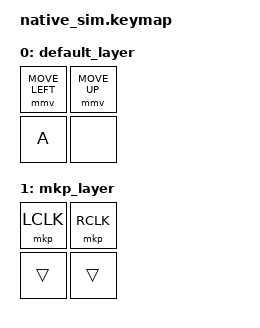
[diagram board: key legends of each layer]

#include <dt-bindings/zmk/input_transform.h>
#include <zephyr/dt-bindings/input/input-event-codes.h>

#include <behaviors.dtsi>
#include <input/processors.dtsi>
#include <dt-bindings/zmk/keys.h>
#include <dt-bindings/zmk/input_mock.h>
#include <dt-bindings/zmk/pointing.h>

&mmv_input_listener {
    input-processors = <&auto_mouse_layer 1 500>;
};

/ {
    auto_mouse_layer: auto_mouse_layer {
        compatible = "zmk,input-processor-temp-layer";
        #input-processor-cells = <2>;
        require-prior-idle-ms = <500>;
    };
    keymap {
        compatible = "zmk,keymap";
        label ="Default keymap";

        default_layer {
            bindings = <
                &mmv MOVE_LEFT &mmv MOVE_UP
                &kp A &none
            >;
        };

        mkp_layer {
            bindings = <&mkp LCLK &mkp RCLK &trans &trans>;
        };
    };
};


&mock_input {
    events = <
        ZMK_INPUT_MOCK_PRESS(1,0,10)
        ZMK_INPUT_MOCK_RELEASE(1,0,100)
        /* before idle */
        ZMK_INPUT_MOCK_PRESS(0,0,150)
        ZMK_INPUT_MOCK_RELEASE(0,0,200)
        /* after idle */
        ZMK_INPUT_MOCK_PRESS(0,0,700)
        ZMK_INPUT_MOCK_RELEASE(0,0,800)
    >;
};
